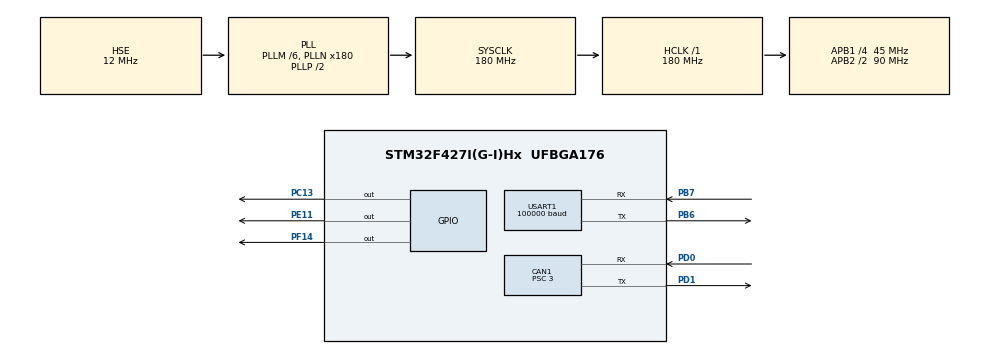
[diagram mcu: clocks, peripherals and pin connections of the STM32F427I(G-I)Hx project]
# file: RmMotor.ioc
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CAN1.BS1=CAN_BS1_10TQ
CAN1.BS2=CAN_BS2_4TQ
CAN1.CalculateBaudRate=1000000
CAN1.CalculateTimeBit=1000
CAN1.CalculateTimeQuantum=66.66666666666666
CAN1.Prescaler=3
Mcu.Family=STM32F4
Mcu.Name=STM32F427I(G-I)Hx
Mcu.Package=UFBGA176
NVIC.CAN1_RX0_IRQn=true\:0\:0\:false\:false\:true\:true\:true\:true
NVIC.PriorityGroup=NVIC_PRIORITYGROUP_4
NVIC.USART1_IRQn=true\:0\:0\:false\:false\:true\:true\:true\:true
PA13.Mode=Serial_Wire
PA13.Signal=SYS_JTMS-SWDIO
PA14.Mode=Serial_Wire
PA14.Signal=SYS_JTCK-SWCLK
PB6.Mode=Asynchronous
PB6.Signal=USART1_TX
PB7.Mode=Asynchronous
PB7.Signal=USART1_RX
PC13.GPIO_PuPd=GPIO_PULLUP
PC13.PinState=GPIO_PIN_SET
PC13.Signal=GPIO_Output
PD0.Mode=CAN_Activate
PD0.Signal=CAN1_RX
PD1.Mode=CAN_Activate
PD1.Signal=CAN1_TX
PE11.Signal=GPIO_Output
PF14.Signal=GPIO_Output
PH0/OSC_IN.Mode=HSE-External-Oscillator
PH0/OSC_IN.Signal=RCC_OSC_IN
PH1/OSC_OUT.Mode=HSE-External-Oscillator
PH1/OSC_OUT.Signal=RCC_OSC_OUT
ProjectManager.HeapSize=0x200
ProjectManager.StackSize=0x400
ProjectManager.TargetToolchain=MDK-ARM V5.32
RCC.48MHZClocksFreq_Value=90000000
RCC.AHBFreq_Value=180000000
RCC.APB1CLKDivider=RCC_HCLK_DIV4
RCC.APB1Freq_Value=45000000
RCC.APB1TimFreq_Value=90000000
RCC.APB2CLKDivider=RCC_HCLK_DIV2
RCC.APB2Freq_Value=90000000
RCC.APB2TimFreq_Value=180000000
RCC.CortexFreq_Value=180000000
RCC.HCLKFreq_Value=180000000
RCC.HSE_VALUE=12000000
RCC.HSI_VALUE=16000000
RCC.LSE_VALUE=32768
RCC.PLLM=6
RCC.PLLN=180
RCC.PLLSourceVirtual=RCC_PLLSOURCE_HSE
RCC.SYSCLKFreq_VALUE=180000000
RCC.SYSCLKSource=RCC_SYSCLKSOURCE_PLLCLK
RCC.VCOOutputFreq_Value=360000000
USART1.BaudRate=100000
USART1.Parity=PARITY_EVEN
USART1.VirtualMode=VM_ASYNC
board=custom

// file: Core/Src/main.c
/* USER CODE BEGIN Header */
/**
  ******************************************************************************
  * @file           : main.c
  * @brief          : Main program body
  ******************************************************************************
  * @attention
  *
  * Copyright (c) 2026 STMicroelectronics.
  * All rights reserved.
  *
  * This software is licensed under terms that can be found in the LICENSE file
  * in the root directory of this software component.
  * If no LICENSE file comes with this software, it is provided AS-IS.
  *
  ******************************************************************************
  */
/* USER CODE END Header */
#include "main.h"
#include "can.h"
#include "usart.h"
#include "gpio.h"

/* USER CODE BEGIN Includes */
#include "remote.h"
/* USER CODE END Includes */

/* USER CODE BEGIN PD */
#define RC_DEAD_ZONE 20
#define RC_TO_CURRENT 4
/* USER CODE END PD */

/* USER CODE BEGIN PV */

volatile uint16_t motor_ecd        = 0;
volatile int16_t  motor_speed_rpm  = 0;
volatile int16_t  motor_current    = 0;   //电流
volatile uint8_t  motor_temp       = 0;   //温度
volatile uint32_t motor_frame_cnt  = 0;   //帧计数？

/* USER CODE END PV */

void SystemClock_Config(void);

/* USER CODE BEGIN 0 */
HAL_StatusTypeDef CAN_Send_Frame(uint32_t std_id,uint8_t *data)
{
CAN_TxHeaderTypeDef tx={0};
uint32_t mailbox;
tx.StdId=std_id;
tx.IDE=CAN_ID_STD;
tx.RTR=CAN_RTR_DATA;
tx.DLC=0x08;
if (HAL_CAN_GetTxMailboxesFreeLevel(&hcan1) == 0)
    {
        return HAL_BUSY;
    }
    return HAL_CAN_AddTxMessage(&hcan1,&tx,(uint8_t *)data, &mailbox);
}

 void Motor_Set_Current(int16_t current)
{
uint8_t data[8]={0};
data[0]=(uint8_t)(current>>8);
data[1]=(uint8_t)(current &0xFF);
CAN_Send_Frame(0x200,data);
}
/* USER CODE END 0 */

int main(void)
{

  /* MCU Configuration--------------------------------------------------------*/

  /* Reset of all peripherals, Initializes the Flash interface and the Systick. */
  HAL_Init();

  /* Configure the system clock */
  SystemClock_Config();

  /* Initialize all configured peripherals */
  MX_GPIO_Init();
  MX_CAN1_Init();
  MX_USART1_UART_Init();
  /* USER CODE BEGIN 2 */
    CAN_FilterTypeDef can_filter_st;
    can_filter_st.FilterActivation = ENABLE;
    can_filter_st.FilterMode = CAN_FILTERMODE_IDMASK;
    can_filter_st.FilterScale = CAN_FILTERSCALE_32BIT;
    can_filter_st.FilterIdHigh = 0x0000;
    can_filter_st.FilterIdLow =  0x0000;
    can_filter_st.FilterMaskIdHigh = 0x0000;
    can_filter_st.FilterMaskIdLow = 0x0000;
    can_filter_st.FilterBank = 0;
    can_filter_st.FilterFIFOAssignment = CAN_RX_FIFO0;
    can_filter_st.SlaveStartFilterBank = 14;
    HAL_CAN_ConfigFilter(&hcan1, &can_filter_st);
    HAL_CAN_Start(&hcan1);
    HAL_CAN_ActivateNotification(&hcan1, CAN_IT_RX_FIFO0_MSG_PENDING);
    Remote_Init();
  /* USER CODE END 2 */

  /* Infinite loop */
  /* USER CODE BEGIN WHILE */
  while (1)
  {
    int16_t target = 0;
    if(remote.ch3>RC_DEAD_ZONE||remote.ch3<-RC_DEAD_ZONE)
    {
     target=remote.ch3*RC_TO_CURRENT;
    }
          Motor_Set_Current(target);
          HAL_Delay(2);
    /* USER CODE END WHILE */

  }
}

void SystemClock_Config(void)
{
  RCC_OscInitTypeDef RCC_OscInitStruct = {0};
  RCC_ClkInitTypeDef RCC_ClkInitStruct = {0};

  /** Configure the main internal regulator output voltage
  */
  __HAL_RCC_PWR_CLK_ENABLE();
  __HAL_PWR_VOLTAGESCALING_CONFIG(PWR_REGULATOR_VOLTAGE_SCALE1);

  /** Initializes the RCC Oscillators according to the specified parameters
  * in the RCC_OscInitTypeDef structure.
  */
  RCC_OscInitStruct.OscillatorType = RCC_OSCILLATORTYPE_HSE;
  RCC_OscInitStruct.HSEState = RCC_HSE_ON;
  RCC_OscInitStruct.PLL.PLLState = RCC_PLL_ON;
  RCC_OscInitStruct.PLL.PLLSource = RCC_PLLSOURCE_HSE;
  RCC_OscInitStruct.PLL.PLLM = 6;
  RCC_OscInitStruct.PLL.PLLN = 180;
  RCC_OscInitStruct.PLL.PLLP = RCC_PLLP_DIV2;
  RCC_OscInitStruct.PLL.PLLQ = 4;
  if (HAL_RCC_OscConfig(&RCC_OscInitStruct) != HAL_OK)
  {
    Error_Handler();
  }

  /** Activate the Over-Drive mode
  */
  if (HAL_PWREx_EnableOverDrive() != HAL_OK)
  {
    Error_Handler();
  }

  /** Initializes the CPU, AHB and APB buses clocks
  */
  RCC_ClkInitStruct.ClockType = RCC_CLOCKTYPE_HCLK|RCC_CLOCKTYPE_SYSCLK
                              |RCC_CLOCKTYPE_PCLK1|RCC_CLOCKTYPE_PCLK2;
  RCC_ClkInitStruct.SYSCLKSource = RCC_SYSCLKSOURCE_PLLCLK;
  RCC_ClkInitStruct.AHBCLKDivider = RCC_SYSCLK_DIV1;
  RCC_ClkInitStruct.APB1CLKDivider = RCC_HCLK_DIV4;
  RCC_ClkInitStruct.APB2CLKDivider = RCC_HCLK_DIV2;

  if (HAL_RCC_ClockConfig(&RCC_ClkInitStruct, FLASH_LATENCY_5) != HAL_OK)
  {
    Error_Handler();
  }
}

/* USER CODE BEGIN 4 */

void HAL_CAN_RxFifo0MsgPendingCallback(CAN_HandleTypeDef *hcan)
{
    CAN_RxHeaderTypeDef rx_header;
    uint8_t rx_data[8];

    if (hcan != &hcan1) return;
    HAL_CAN_GetRxMessage(hcan, CAN_RX_FIFO0, &rx_header, rx_data);

    if (rx_header.StdId == 0x201)
    {
        motor_ecd       = (uint16_t)((rx_data[0] << 8) | rx_data[1]); // 角度
        motor_speed_rpm = (int16_t)((rx_data[2] << 8) | rx_data[3]);  // 转速
        motor_current   = (int16_t)((rx_data[4] << 8) | rx_data[5]);  // 电流
        motor_temp      = rx_data[6];                                  // 温度
        motor_frame_cnt++;                                            // 帧数+1
    }
}

/* USER CODE END 4 */

void Error_Handler(void)
{
  __disable_irq();
  while (1)
  {
  }
}
